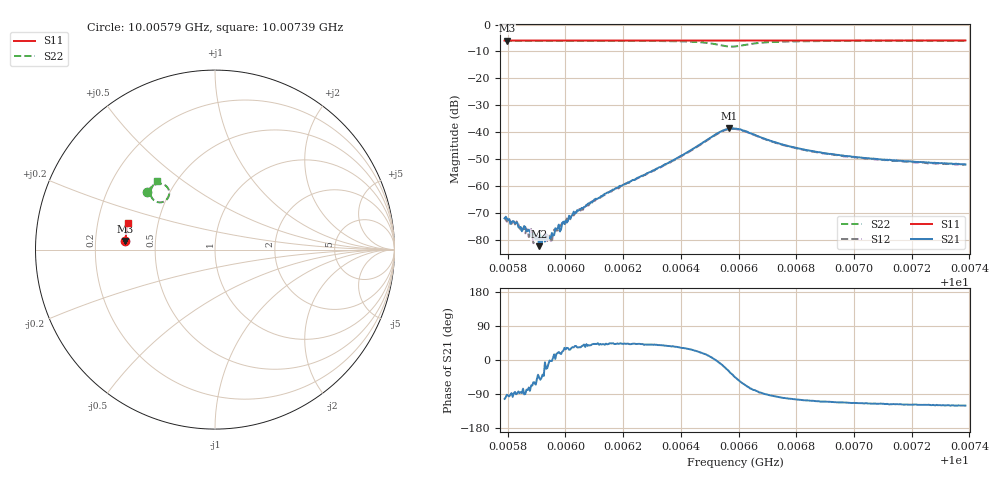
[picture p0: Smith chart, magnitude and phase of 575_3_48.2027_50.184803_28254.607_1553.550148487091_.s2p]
#  HZ  S  RI  R  50.00
! Rohde & Schwarz Vector Network Analyzer
! Rohde-Schwarz,ZNB20-2Port,1311601062101988,3.16
! Created: UTC 3/20/2024, 12:01:52 PM
! freq[Hz]  re:S11  im:S11  re:S21  im:S21  re:S12  im:S12  re:S22  im:S22
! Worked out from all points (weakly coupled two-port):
!   401 points, 10.00579 GHz to 10.00739 GHz, reference 50 ohm
!   highest |S21| = -38.62 dB at 10.00657 GHz (marker M1); lowest = -82.4 dB at 10.00591 GHz (marker M2)
!   lowest |S11| = -6.0 dB at 10.0058 GHz (marker M3), VSWR 3.02, Z = 16.6 + j2.13 ohm
!   |S11| at or under -10 dB: nowhere
!   |S22| runs from -8.2 to -6.0 dB; largest |S21 - S12| = 0.00083
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1.000579e10  -0.4998 0.0475  -5.43e-05 -0.000243  -1.49e-05 -0.00026  -0.3782 0.3233
1.0005798e10  -0.4996 0.048  -6.77e-06 -0.000245  1.01e-06 -0.000217  -0.3779 0.3238
1.0005825e10  -0.4996 0.0497  2.04e-05 -0.000202  -2.63e-05 -0.00019  -0.3764 0.3256
1.0005845e10  -0.4996 0.0512  1.66e-05 -0.000172  -1.17e-06 -0.000154  -0.3753 0.3268
1.0005865e10  -0.4994 0.0525  2.94e-05 -0.00014  5.83e-05 -0.000149  -0.3744 0.3279
1.0005893e10  -0.4992 0.0543  5.85e-05 -9.83e-05  3.29e-05 -8.82e-05  -0.3728 0.3297
1.0005909e10  -0.4991 0.0553  5.18e-05 -5.51e-05  7.66e-05 -8.87e-05  -0.372 0.3308
1.0005949e10  -0.499 0.0578  0.000106 -4.81e-06  0.000103 -1.67e-05  -0.3697 0.3333
1.0005969e10  -0.4987 0.0593  0.00015 4.41e-05  0.000148 3e-05  -0.3687 0.3347
1.0005985e10  -0.4987 0.0602  0.00015 4.17e-05  0.000176 6.2e-05  -0.3676 0.3355
1.0006021e10  -0.4985 0.0626  0.000233 0.000144  0.000236 0.000147  -0.3655 0.3382
1.0006057e10  -0.4983 0.0649  0.000313 0.000231  0.000258 0.00026  -0.3632 0.3405
1.0006157e10  -0.4975 0.0715  0.000572 0.000555  0.000523 0.000588  -0.3556 0.3476
1.0006324e10  -0.4963 0.0823  0.00171 0.0014  0.00163 0.00145  -0.3363 0.3613
1.0006484e10  -0.4942 0.0927  0.00653 0.00184  0.00627 0.0021  -0.2829 0.3617
1.0006536e10  -0.4932 0.0958  0.00997 -0.00153  0.00981 -0.000913  -0.2557 0.3254
1.0006568e10  -0.4927 0.0973  0.0101 -0.00597  0.0101 -0.00519  -0.2635 0.2857
1.0006588e10  -0.4927 0.0983  0.00811 -0.00823  0.00853 -0.0076  -0.284 0.2682
1.0006676e10  -0.4924 0.1037  0.00057 -0.00802  0.000978 -0.00786  -0.353 0.2909
1.0006855e10  -0.4906 0.1155  -0.00134 -0.00421  -0.00114 -0.00417  -0.3546 0.3397
1.0007122e10  -0.487 0.1324  -0.0014 -0.00271  -0.00117 -0.00274  -0.3387 0.3659
1.0007386e10  -0.4828 0.149  -0.00126 -0.00216  -0.00115 -0.00216  -0.3241 0.382
